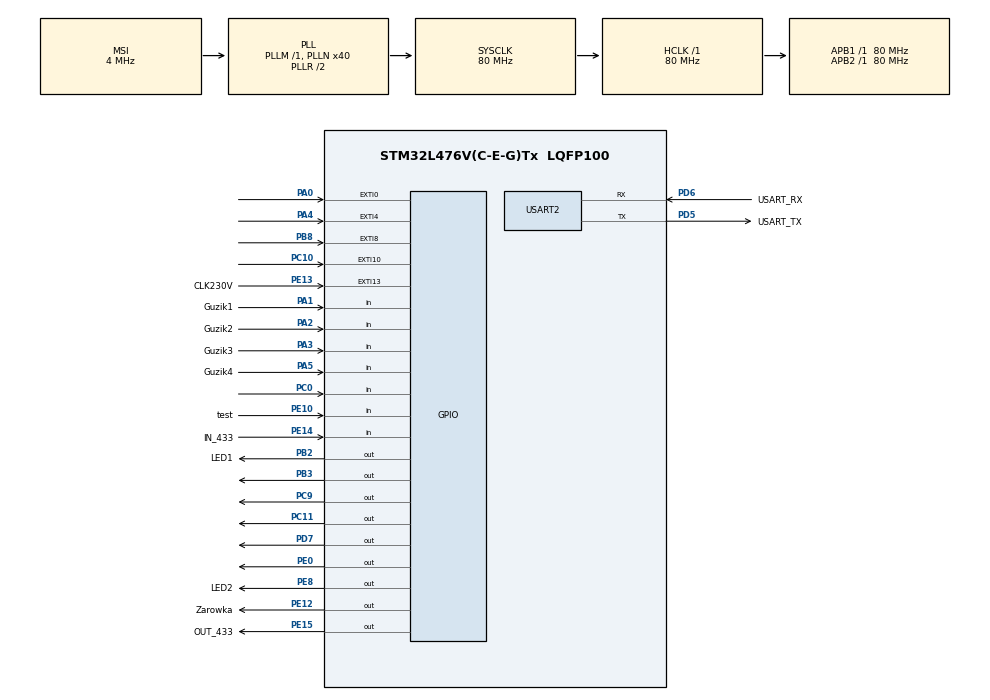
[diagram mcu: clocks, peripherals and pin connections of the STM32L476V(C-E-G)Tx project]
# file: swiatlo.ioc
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Dma.Request0=USART2_RX
Dma.Request1=USART2_TX
Dma.USART2_RX.0.Direction=DMA_PERIPH_TO_MEMORY
Dma.USART2_RX.0.Instance=DMA1_Channel6
Dma.USART2_RX.0.MemDataAlignment=DMA_MDATAALIGN_BYTE
Dma.USART2_RX.0.MemInc=DMA_MINC_ENABLE
Dma.USART2_RX.0.Mode=DMA_CIRCULAR
Dma.USART2_RX.0.PeriphDataAlignment=DMA_PDATAALIGN_BYTE
Dma.USART2_RX.0.PeriphInc=DMA_PINC_DISABLE
Dma.USART2_RX.0.Priority=DMA_PRIORITY_LOW
Dma.USART2_TX.1.Direction=DMA_MEMORY_TO_PERIPH
Dma.USART2_TX.1.Instance=DMA1_Channel7
Dma.USART2_TX.1.MemDataAlignment=DMA_MDATAALIGN_BYTE
Dma.USART2_TX.1.MemInc=DMA_MINC_ENABLE
Dma.USART2_TX.1.Mode=DMA_CIRCULAR
Dma.USART2_TX.1.PeriphDataAlignment=DMA_PDATAALIGN_BYTE
Dma.USART2_TX.1.PeriphInc=DMA_PINC_DISABLE
Dma.USART2_TX.1.Priority=DMA_PRIORITY_LOW
Mcu.Family=STM32L4
Mcu.Name=STM32L476V(C-E-G)Tx
Mcu.Package=LQFP100
NVIC.DMA1_Channel6_IRQn=true\:0\:0\:false\:false\:true\:false
NVIC.DMA1_Channel7_IRQn=true\:0\:0\:false\:false\:true\:false
NVIC.EXTI0_IRQn=true\:0\:0\:false\:false\:true\:true
NVIC.EXTI15_10_IRQn=true\:0\:0\:false\:false\:true\:true
NVIC.EXTI4_IRQn=true\:0\:0\:false\:false\:true\:true
NVIC.EXTI9_5_IRQn=true\:0\:0\:false\:false\:true\:true
NVIC.PVD_PVM_IRQn=true\:0\:0\:false\:false\:true\:true
NVIC.PriorityGroup=NVIC_PRIORITYGROUP_4
NVIC.TIM6_DAC_IRQn=true\:0\:0\:false\:false\:true\:true
NVIC.TIM7_IRQn=true\:0\:0\:false\:false\:true\:true
NVIC.USART2_IRQn=true\:0\:0\:false\:false\:true\:true
PA0.Signal=GPXTI0
PA1.GPIO_Label=Guzik1
PA1.GPIO_PuPd=GPIO_PULLDOWN
PA1.Signal=GPIO_Input
PA10.GPIO_Mode=GPIO_MODE_AF_PP
PA10.GPIO_PuPd=GPIO_NOPULL
PA10.GPIO_Speed=GPIO_SPEED_FREQ_LOW
PA10.Signal=LCD_COM2
PA11.GPIO_Mode=GPIO_MODE_AF_PP
PA11.GPIO_PuPd=GPIO_NOPULL
PA11.GPIO_Speed=GPIO_SPEED_FREQ_VERY_HIGH
PA11.Signal=USB_OTG_FS_DM
PA12.GPIO_Mode=GPIO_MODE_AF_PP
PA12.GPIO_PuPd=GPIO_NOPULL
PA12.GPIO_Speed=GPIO_SPEED_FREQ_VERY_HIGH
PA12.Signal=USB_OTG_FS_DP
PA13\ (JTMS-SWDIO).Mode=Serial_Wire
PA13\ (JTMS-SWDIO).Signal=SYS_JTMS-SWDIO
PA14\ (JTCK-SWCLK).Mode=Serial_Wire
PA14\ (JTCK-SWCLK).Signal=SYS_JTCK-SWCLK
PA15\ (JTDI).GPIO_Mode=GPIO_MODE_AF_PP
PA15\ (JTDI).GPIO_PuPd=GPIO_NOPULL
PA15\ (JTDI).GPIO_Speed=GPIO_SPEED_FREQ_LOW
PA15\ (JTDI).Signal=LCD_SEG17
PA2.GPIO_Label=Guzik2
PA2.GPIO_PuPd=GPIO_PULLDOWN
PA2.Signal=GPIO_Input
PA3.GPIO_Label=Guzik3
PA3.GPIO_PuPd=GPIO_PULLDOWN
PA3.Signal=GPIO_Input
PA4.GPIO_ModeDefaultEXTI=GPIO_MODE_IT_RISING
PA4.GPIO_PuPd=GPIO_NOPULL
PA4.Signal=GPXTI4
PA5.GPIO_Label=Guzik4
PA5.GPIO_PuPd=GPIO_PULLDOWN
PA5.Signal=GPIO_Input
PA6.GPIO_Mode=GPIO_MODE_AF_PP
PA6.GPIO_PuPd=GPIO_NOPULL
PA6.GPIO_Speed=GPIO_SPEED_FREQ_LOW
PA6.Signal=LCD_SEG3
PA7.GPIO_Mode=GPIO_MODE_AF_PP
PA7.GPIO_PuPd=GPIO_NOPULL
PA7.GPIO_Speed=GPIO_SPEED_FREQ_LOW
PA7.Signal=LCD_SEG4
PA8.GPIO_Mode=GPIO_MODE_AF_PP
PA8.GPIO_PuPd=GPIO_NOPULL
PA8.GPIO_Speed=GPIO_SPEED_FREQ_LOW
PA8.Signal=LCD_COM0
PA9.GPIO_Mode=GPIO_MODE_AF_PP
PA9.GPIO_PuPd=GPIO_NOPULL
PA9.GPIO_Speed=GPIO_SPEED_FREQ_LOW
PA9.Signal=LCD_COM1
PB0.GPIO_Mode=GPIO_MODE_AF_PP
PB0.GPIO_PuPd=GPIO_NOPULL
PB0.GPIO_Speed=GPIO_SPEED_FREQ_LOW
PB0.Signal=LCD_SEG5
PB1.GPIO_Mode=GPIO_MODE_AF_PP
PB1.GPIO_PuPd=GPIO_NOPULL
PB1.GPIO_Speed=GPIO_SPEED_FREQ_LOW
PB1.Signal=LCD_SEG6
PB10.GPIO_Mode=GPIO_MODE_AF_OD
PB10.GPIO_PuPdOD=GPIO_PULLUP
PB10.GPIO_Speed=GPIO_SPEED_FREQ_VERY_HIGH
PB10.Signal=I2C2_SCL
PB11.GPIO_Mode=GPIO_MODE_AF_OD
PB11.GPIO_PuPdOD=GPIO_PULLUP
PB11.GPIO_Speed=GPIO_SPEED_FREQ_VERY_HIGH
PB11.Signal=I2C2_SDA
PB12.GPIO_Mode=GPIO_MODE_AF_PP
PB12.GPIO_PuPd=GPIO_NOPULL
PB12.GPIO_Speed=GPIO_SPEED_FREQ_LOW
PB12.Signal=LCD_SEG12
PB13.GPIO_Mode=GPIO_MODE_AF_PP
PB13.GPIO_PuPd=GPIO_NOPULL
PB13.GPIO_Speed=GPIO_SPEED_FREQ_LOW
PB13.Signal=LCD_SEG13
PB14.GPIO_Mode=GPIO_MODE_AF_PP
PB14.GPIO_PuPd=GPIO_NOPULL
PB14.GPIO_Speed=GPIO_SPEED_FREQ_LOW
PB14.Signal=LCD_SEG14
PB15.GPIO_Mode=GPIO_MODE_AF_PP
PB15.GPIO_PuPd=GPIO_NOPULL
PB15.GPIO_Speed=GPIO_SPEED_FREQ_LOW
PB15.Signal=LCD_SEG15
PB2.GPIO_Label=LED1
PB2.GPIO_ModeDefaultOutputPP=GPIO_MODE_OUTPUT_PP
PB2.GPIO_PuPd=GPIO_NOPULL
PB2.GPIO_Speed=GPIO_SPEED_FREQ_LOW
PB2.PinState=GPIO_PIN_RESET
PB2.Signal=GPIO_Output
PB3\ (JTDO-TRACESWO).GPIO_ModeDefaultOutputPP=GPIO_MODE_OUTPUT_PP
PB3\ (JTDO-TRACESWO).GPIO_PuPd=GPIO_NOPULL
PB3\ (JTDO-TRACESWO).GPIO_Speed=GPIO_SPEED_FREQ_LOW
PB3\ (JTDO-TRACESWO).PinState=GPIO_PIN_RESET
PB3\ (JTDO-TRACESWO).Signal=GPIO_Output
PB4\ (NJTRST).GPIO_Mode=GPIO_MODE_AF_PP
PB4\ (NJTRST).GPIO_PuPd=GPIO_NOPULL
PB4\ (NJTRST).GPIO_Speed=GPIO_SPEED_FREQ_LOW
PB4\ (NJTRST).Signal=LCD_SEG8
PB5.GPIO_Mode=GPIO_MODE_AF_PP
PB5.GPIO_PuPd=GPIO_NOPULL
PB5.GPIO_Speed=GPIO_SPEED_FREQ_LOW
PB5.Signal=LCD_SEG9
PB6.GPIO_FM6=__NULL
PB6.GPIO_Mode=GPIO_MODE_AF_OD
PB6.GPIO_PuPdOD=GPIO_PULLUP
PB6.GPIO_Speed=GPIO_SPEED_FREQ_VERY_HIGH
PB6.Signal=I2C1_SCL
PB7.GPIO_FM7=__NULL
PB7.GPIO_Mode=GPIO_MODE_AF_OD
PB7.GPIO_PuPdOD=GPIO_PULLUP
PB7.GPIO_Speed=GPIO_SPEED_FREQ_VERY_HIGH
PB7.Signal=I2C1_SDA
PB8.GPIO_ModeDefaultEXTI=GPIO_MODE_IT_RISING
PB8.GPIO_PuPd=GPIO_NOPULL
PB8.Signal=GPXTI8
PB9.GPIO_FM9=__NULL
PB9.GPIO_Mode=GPIO_MODE_AF_PP
PB9.GPIO_PuPd=GPIO_NOPULL
PB9.GPIO_Speed=GPIO_SPEED_FREQ_LOW
PB9.Signal=LCD_COM3
PC0.Signal=GPIO_Input
PC10.GPIO_ModeDefaultEXTI=GPIO_MODE_IT_RISING
PC10.GPIO_PuPd=GPIO_NOPULL
PC10.Signal=GPXTI10
PC11.GPIO_ModeDefaultOutputPP=GPIO_MODE_OUTPUT_PP
PC11.GPIO_PuPd=GPIO_NOPULL
PC11.GPIO_Speed=GPIO_SPEED_FREQ_LOW
PC11.PinState=GPIO_PIN_RESET
PC11.Signal=GPIO_Output
PC3.GPIO_Mode=GPIO_MODE_AF_PP
PC3.GPIO_PuPd=GPIO_NOPULL
PC3.GPIO_Speed=GPIO_SPEED_FREQ_LOW
PC3.Signal=LCD_VLCD
PC4.GPIO_Mode=GPIO_MODE_AF_PP
PC4.GPIO_PuPd=GPIO_NOPULL
PC4.GPIO_Speed=GPIO_SPEED_FREQ_LOW
PC4.Signal=LCD_SEG22
PC5.GPIO_Mode=GPIO_MODE_AF_PP
PC5.GPIO_PuPd=GPIO_NOPULL
PC5.GPIO_Speed=GPIO_SPEED_FREQ_LOW
PC5.Signal=LCD_SEG23
PC6.GPIO_Mode=GPIO_MODE_AF_PP
PC6.GPIO_PuPd=GPIO_NOPULL
PC6.GPIO_Speed=GPIO_SPEED_FREQ_LOW
PC6.Signal=LCD_SEG24
PC7.GPIO_Mode=GPIO_MODE_AF_PP
PC7.GPIO_PuPd=GPIO_NOPULL
PC7.GPIO_Speed=GPIO_SPEED_FREQ_LOW
PC7.Signal=LCD_SEG25
PC8.GPIO_Mode=GPIO_MODE_AF_PP
PC8.GPIO_PuPd=GPIO_NOPULL
PC8.GPIO_Speed=GPIO_SPEED_FREQ_LOW
PC8.Signal=LCD_SEG26
PC9.GPIO_ModeDefaultOutputPP=GPIO_MODE_OUTPUT_PP
PC9.GPIO_PuPd=GPIO_NOPULL
PC9.GPIO_Speed=GPIO_SPEED_FREQ_LOW
PC9.PinState=GPIO_PIN_RESET
PC9.Signal=GPIO_Output
PD1.GPIO_Mode=GPIO_MODE_AF_PP
PD1.GPIO_PuPd=GPIO_NOPULL
PD1.GPIO_Speed=GPIO_SPEED_FREQ_VERY_HIGH
PD1.Signal=SPI2_SCK
PD10.GPIO_Mode=GPIO_MODE_AF_PP
PD10.GPIO_PuPd=GPIO_NOPULL
PD10.GPIO_Speed=GPIO_SPEED_FREQ_LOW
PD10.Signal=LCD_SEG30
PD11.GPIO_Mode=GPIO_MODE_AF_PP
PD11.GPIO_PuPd=GPIO_NOPULL
PD11.GPIO_Speed=GPIO_SPEED_FREQ_LOW
PD11.Signal=LCD_SEG31
PD12.GPIO_Mode=GPIO_MODE_AF_PP
PD12.GPIO_PuPd=GPIO_NOPULL
PD12.GPIO_Speed=GPIO_SPEED_FREQ_LOW
PD12.Signal=LCD_SEG32
PD13.GPIO_Mode=GPIO_MODE_AF_PP
PD13.GPIO_PuPd=GPIO_NOPULL
PD13.GPIO_Speed=GPIO_SPEED_FREQ_LOW
PD13.Signal=LCD_SEG33
PD14.GPIO_Mode=GPIO_MODE_AF_PP
PD14.GPIO_PuPd=GPIO_NOPULL
PD14.GPIO_Speed=GPIO_SPEED_FREQ_LOW
PD14.Signal=LCD_SEG34
PD15.GPIO_Mode=GPIO_MODE_AF_PP
PD15.GPIO_PuPd=GPIO_NOPULL
PD15.GPIO_Speed=GPIO_SPEED_FREQ_LOW
PD15.Signal=LCD_SEG35
PD3.GPIO_Mode=GPIO_MODE_AF_PP
PD3.GPIO_PuPd=GPIO_NOPULL
PD3.GPIO_Speed=GPIO_SPEED_FREQ_VERY_HIGH
PD3.Signal=SPI2_MISO
PD4.GPIO_Mode=GPIO_MODE_AF_PP
PD4.GPIO_PuPd=GPIO_NOPULL
PD4.GPIO_Speed=GPIO_SPEED_FREQ_VERY_HIGH
PD4.Signal=SPI2_MOSI
PD5.GPIO_Label=USART_TX
PD5.GPIO_Mode=GPIO_MODE_AF_PP
PD5.GPIO_ModeDefaultPP=GPIO_MODE_AF_PP
PD5.GPIO_PuPd=GPIO_NOPULL
PD5.GPIO_Speed=GPIO_SPEED_FREQ_VERY_HIGH
PD5.Mode=Asynchronous
PD5.Signal=USART2_TX
PD6.GPIO_Label=USART_RX
PD6.GPIO_Mode=GPIO_MODE_AF_PP
PD6.GPIO_ModeDefaultPP=GPIO_MODE_AF_PP
PD6.GPIO_PuPd=GPIO_NOPULL
PD6.GPIO_Speed=GPIO_SPEED_FREQ_VERY_HIGH
PD6.Mode=Asynchronous
PD6.Signal=USART2_RX
PD7.GPIO_ModeDefaultOutputPP=GPIO_MODE_OUTPUT_PP
PD7.GPIO_PuPd=GPIO_NOPULL
PD7.GPIO_Speed=GPIO_SPEED_FREQ_LOW
PD7.PinState=GPIO_PIN_RESET
PD7.Signal=GPIO_Output
PD8.GPIO_Mode=GPIO_MODE_AF_PP
PD8.GPIO_PuPd=GPIO_NOPULL
PD8.GPIO_Speed=GPIO_SPEED_FREQ_LOW
PD8.Signal=LCD_SEG28
PD9.GPIO_Mode=GPIO_MODE_AF_PP
PD9.GPIO_PuPd=GPIO_NOPULL
PD9.GPIO_Speed=GPIO_SPEED_FREQ_LOW
PD9.Signal=LCD_SEG29
PE0.GPIO_ModeDefaultOutputPP=GPIO_MODE_OUTPUT_PP
PE0.GPIO_PuPd=GPIO_NOPULL
PE0.GPIO_Speed=GPIO_SPEED_FREQ_LOW
PE0.PinState=GPIO_PIN_RESET
PE0.Signal=GPIO_Output
PE10.GPIO_Label=test
PE10.GPIO_PuPd=GPIO_PULLDOWN
PE10.Signal=GPIO_Input
PE12.GPIO_Label=Zarowka
PE12.Signal=GPIO_Output
PE13.GPIO_Label=CLK230V
PE13.GPIO_ModeDefaultEXTI=GPIO_MODE_IT_FALLING
PE13.GPIO_PuPd=GPIO_NOPULL
PE13.Signal=GPXTI13
PE14.GPIO_Label=IN_433
PE14.GPIO_PuPd=GPIO_PULLUP
PE14.Signal=GPIO_Input
PE15.GPIO_Label=OUT_433
PE15.Signal=GPIO_Output
PE7.GPIO_Mode=GPIO_MODE_AF_PP
PE7.GPIO_PuPd=GPIO_NOPULL
PE7.GPIO_Speed=GPIO_SPEED_FREQ_LOW
PE7.Signal=SAI1_SD_B
PE8.GPIO_Label=LED2
PE8.GPIO_ModeDefaultOutputPP=GPIO_MODE_OUTPUT_PP
PE8.GPIO_PuPd=GPIO_NOPULL
PE8.GPIO_Speed=GPIO_SPEED_FREQ_LOW
PE8.PinState=GPIO_PIN_RESET
PE8.Signal=GPIO_Output
PE9.GPIO_Mode=GPIO_MODE_AF_PP
PE9.GPIO_PuPd=GPIO_NOPULL
PE9.GPIO_Speed=GPIO_SPEED_FREQ_LOW
PE9.Signal=SAI1_FS_B
ProjectManager.HeapSize=0x200
ProjectManager.StackSize=0x400
ProjectManager.TargetToolchain=TrueSTUDIO
RCC.ADCFreq_Value=48000000
RCC.AHBFreq_Value=80000000
RCC.APB1Freq_Value=80000000
RCC.APB1TimFreq_Value=80000000
RCC.APB2Freq_Value=80000000
RCC.APB2TimFreq_Value=80000000
RCC.CortexFreq_Value=80000000
RCC.HCLKFreq_Value=80000000
RCC.HSE_VALUE=8000000
RCC.HSI_VALUE=16000000
RCC.LSE_VALUE=32768
RCC.MSI_VALUE=4000000
RCC.PLLN=40
RCC.PLLSAI1N=24
RCC.PREFETCH_ENABLE=1
RCC.SYSCLKFreq_VALUE=80000000
RCC.SYSCLKSource=RCC_SYSCLKSOURCE_PLLCLK
RCC.USBFreq_Value=48000000
RCC.VCOOutputFreq_Value=160000000
TIM6.Period=100
TIM6.Prescaler=80
TIM7.Period=10
TIM7.Prescaler=250
USART2.VirtualMode-Asynchronous=VM_ASYNC
USART2.WordLength=WORDLENGTH_8B
VP_TIM6_VS_ClockSourceINT.Mode=Enable_Timer
VP_TIM7_VS_ClockSourceINT.Mode=Enable_Timer
board=32L476GDISCOVERY

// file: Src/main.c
/**
 ******************************************************************************
 * @file           : main.c
 * @brief          : Main program body
 ******************************************************************************
 ** This notice applies to any and all portions of this file
 * that are not between comment pairs USER CODE BEGIN and
 * USER CODE END. Other portions of this file, whether
 * inserted by the user or by software development tools
 * are owned by their respective copyright owners.
 *
 * COPYRIGHT(c) 2018 STMicroelectronics
 *
 * Redistribution and use in source and binary forms, with or without modification,
 * are permitted provided that the following conditions are met:
 *   1. Redistributions of source code must retain the above copyright notice,
 *      this list of conditions and the following disclaimer.
 *   2. Redistributions in binary form must reproduce the above copyright notice,
 *      this list of conditions and the following disclaimer in the documentation
 *      and/or other materials provided with the distribution.
 *   3. Neither the name of STMicroelectronics nor the names of its contributors
 *      may be used to endorse or promote products derived from this software
 *      without specific prior written permission.
 *
 * THIS SOFTWARE IS PROVIDED BY THE COPYRIGHT HOLDERS AND CONTRIBUTORS "AS IS"
 * AND ANY EXPRESS OR IMPLIED WARRANTIES, INCLUDING, BUT NOT LIMITED TO, THE
 * IMPLIED WARRANTIES OF MERCHANTABILITY AND FITNESS FOR A PARTICULAR PURPOSE ARE
 * DISCLAIMED. IN NO EVENT SHALL THE COPYRIGHT HOLDER OR CONTRIBUTORS BE LIABLE
 * FOR ANY DIRECT, INDIRECT, INCIDENTAL, SPECIAL, EXEMPLARY, OR CONSEQUENTIAL
 * DAMAGES (INCLUDING, BUT NOT LIMITED TO, PROCUREMENT OF SUBSTITUTE GOODS OR
 * SERVICES; LOSS OF USE, DATA, OR PROFITS; OR BUSINESS INTERRUPTION) HOWEVER
 * CAUSED AND ON ANY THEORY OF LIABILITY, WHETHER IN CONTRACT, STRICT LIABILITY,
 * OR TORT (INCLUDING NEGLIGENCE OR OTHERWISE) ARISING IN ANY WAY OUT OF THE USE
 * OF THIS SOFTWARE, EVEN IF ADVISED OF THE POSSIBILITY OF SUCH DAMAGE.
 *
 ******************************************************************************
 */
#include "main.h"
#include "stm32l4xx_hal.h"
#include "dma.h"
#include "tim.h"
#include "usart.h"
#include "gpio.h"

/* USER CODE BEGIN Includes */
#include "Radio_433.h"

#define ADRES_GNIAZDKO 48
#define Adres_GNIAZDKO_OBIERANIE 49
#define ADRES_ROLETA 68
#define ADRES_ROLETA_ODBIERANIE 69
#define ADRES_ZAROWKA 58
#define ADRES_ZAROWKA_ODBIERANIE 59

#define ADRES_EKSPANDER_GNIAZDO 60
#define ADRES_EKSPANDER_GNIAZDO_ODBIERANIE 160

#define ADRES_EKSPANDER_ROLETA 70

/* USER CODE END Includes */

/* USER CODE BEGIN PV */
/* Private variables ---------------------------------------------------------*/

// BAZA USTAWIEN
volatile int zarowka = 100; //100 wylacz, 101 wlacz, x>102 --> ster jasnoscia
volatile int gniazdo = 100; //100 wylacz, 101 wlacz
volatile int roleta = 100;  //100 zamknij, 101 otwoz, x>102 --> ster wysokoscia

volatile int ekspander_gniazdko = 2;
volatile int ekspander_roleta = 0;

volatile int Adres_do_wyslania = 0;
volatile int Dana_do_wyslania = 0;
int tmp = 1;
int numer = 0;

/* USER CODE END PV */

void SystemClock_Config(void);

/* USER CODE BEGIN PFP */
/* Private function prototypes -----------------------------------------------*/

/* USER CODE END PFP */

/* USER CODE BEGIN 0 */

int _write(int file, char*ptr, int len) {
	HAL_UART_Transmit(&huart2, ptr, len, 50);
	return len;
}

void HAL_GPIO_EXTI_Callback(uint16_t GPIO_Pin) {

	if (GPIO_Pin == 1) {
		if (ekspander_gniazdko == 1) {
			ekspander_gniazdko = 2;
		} else if (ekspander_gniazdko == 2) {
			ekspander_gniazdko = 1;
		}
	}
	printf("Dioda ekspander gniazdko %d\r\n", ekspander_gniazdko);

}

void HAL_TIM_PeriodElapsedCallback(TIM_HandleTypeDef *htim) {
	if (htim == &htim7) {

	}
	if (htim == &htim6) {
		podstawa_czasowa_kominikacji();
		//obsluga_nadawania();
	}
	//if (htim == &htim17) {
	//}
}
void HAL_SYSTICK_Callback(void) {
	if (HAL_GPIO_ReadPin(Guzik1_GPIO_Port, Guzik1_Pin) == GPIO_PIN_SET) {
		if (zarowka != 0) {
			zarowka = 0;
			printf("Moc zarowki:%d\r\n", zarowka);
		}
	}
	if (HAL_GPIO_ReadPin(Guzik2_GPIO_Port, Guzik2_Pin) == GPIO_PIN_SET) {
		if (zarowka != 200) {
			zarowka = 200;
			printf("Moc zarowki:%d\r\n", zarowka);
		}
	}
	if (HAL_GPIO_ReadPin(Guzik3_GPIO_Port, Guzik3_Pin) == GPIO_PIN_SET) {
		if (gniazdo != 100) {
			gniazdo = 100;
			printf("Gniazdo wylaczone\r\n");
		}
	}
	if (HAL_GPIO_ReadPin(Guzik4_GPIO_Port, Guzik4_Pin) == GPIO_PIN_SET) {
		if (gniazdo != 101) {
			gniazdo = 101;
			printf("Gniazdo wlaczone\r\n");
		}
	}
}
/* USER CODE END 0 */

int main(void) {

	/* MCU Configuration----------------------------------------------------------*/

	/* Reset of all peripherals, Initializes the Flash interface and the Systick. */
	HAL_Init();

	/* Configure the system clock */
	SystemClock_Config();

	/* Initialize all configured peripherals */
	MX_GPIO_Init();
	MX_DMA_Init();
	MX_USART2_UART_Init();
	MX_TIM7_Init();
	MX_TIM6_Init();
	/* USER CODE BEGIN 2 */
	HAL_TIM_Base_Start_IT(&htim7);
	HAL_TIM_Base_Start_IT(&htim6);
	//HAL_TIM_Base_Start_IT(&htim17);

	/* USER CODE END 2 */

	/* Infinite loop */
	/* USER CODE BEGIN WHILE */
	int dana = 0;
	while (1) {
		tmp++;
		if (tmp == 4000) {
			tmp = 0;
			numer++;
		}
		if (numer >= 1800 && flaga_nadawania == 0 && tlo_nadawania == 3) {// tlo_nadawania==3
			numer = 0;
			if (dana == 5) {
				nadaj_433(ADRES_ROLETA, roleta);
				dana = 0;
			} else if (dana == 4) {
				nadaj_433(ADRES_GNIAZDKO, gniazdo);
			} else if (dana == 3) {
				nadaj_433(ADRES_ZAROWKA, zarowka);
			} else if (dana == 2) {
				nadaj_433(ADRES_EKSPANDER_ROLETA, ekspander_roleta);
			} else if (dana == 1) {
				nadaj_433(ADRES_EKSPANDER_GNIAZDO, ekspander_gniazdko);
				zarowka = zarowka + 10;

			}
			dana++;
		}
		if (flaga_odbierania == 2) {
			printf("odebrano: %d, %d \r\n", odebrano[0], odebrano[1]);
			if (odebrano[0] == ADRES_ZAROWKA_ODBIERANIE) {
				if (odebrano[1] != zarowka) {
					zarowka = odebrano[1];
				}
			}
			if (odebrano[0] == ADRES_ROLETA_ODBIERANIE) {
				if (odebrano[1] != roleta) {
					roleta = odebrano[1];
				}
			}
			if (odebrano[0] == Adres_GNIAZDKO_OBIERANIE) {
				if (odebrano[1] != gniazdo) {
					gniazdo = odebrano[1];
				}
			}
			if (odebrano[0] == ADRES_EKSPANDER_GNIAZDO_ODBIERANIE) {
				if (odebrano[1] != ekspander_gniazdko) {
					ekspander_gniazdko = odebrano[1];
				}
			}

			if (zarowka == 250) {
				zarowka = 100;
			}
			if (zarowka < 100) {
				zarowka = 100;
			}

			odebrano[0] = 0;
			odebrano[1] = 0;
			flaga_odbierania = 1;
		}

		/* USER CODE END WHILE */

	}

}

void SystemClock_Config(void) {

	RCC_OscInitTypeDef RCC_OscInitStruct;
	RCC_ClkInitTypeDef RCC_ClkInitStruct;
	RCC_PeriphCLKInitTypeDef PeriphClkInit;

	/**Initializes the CPU, AHB and APB busses clocks
	 */
	RCC_OscInitStruct.OscillatorType = RCC_OSCILLATORTYPE_MSI;
	RCC_OscInitStruct.MSIState = RCC_MSI_ON;
	RCC_OscInitStruct.MSICalibrationValue = 0;
	RCC_OscInitStruct.MSIClockRange = RCC_MSIRANGE_6;
	RCC_OscInitStruct.PLL.PLLState = RCC_PLL_ON;
	RCC_OscInitStruct.PLL.PLLSource = RCC_PLLSOURCE_MSI;
	RCC_OscInitStruct.PLL.PLLM = 1;
	RCC_OscInitStruct.PLL.PLLN = 40;
	RCC_OscInitStruct.PLL.PLLP = RCC_PLLP_DIV7;
	RCC_OscInitStruct.PLL.PLLQ = RCC_PLLQ_DIV2;
	RCC_OscInitStruct.PLL.PLLR = RCC_PLLR_DIV2;
	if (HAL_RCC_OscConfig(&RCC_OscInitStruct) != HAL_OK) {
		_Error_Handler(__FILE__, __LINE__);
	}

	/**Initializes the CPU, AHB and APB busses clocks
	 */
	RCC_ClkInitStruct.ClockType = RCC_CLOCKTYPE_HCLK | RCC_CLOCKTYPE_SYSCLK
			| RCC_CLOCKTYPE_PCLK1 | RCC_CLOCKTYPE_PCLK2;
	RCC_ClkInitStruct.SYSCLKSource = RCC_SYSCLKSOURCE_PLLCLK;
	RCC_ClkInitStruct.AHBCLKDivider = RCC_SYSCLK_DIV1;
	RCC_ClkInitStruct.APB1CLKDivider = RCC_HCLK_DIV1;
	RCC_ClkInitStruct.APB2CLKDivider = RCC_HCLK_DIV1;

	if (HAL_RCC_ClockConfig(&RCC_ClkInitStruct, FLASH_LATENCY_4) != HAL_OK) {
		_Error_Handler(__FILE__, __LINE__);
	}

	PeriphClkInit.PeriphClockSelection = RCC_PERIPHCLK_USART2;
	PeriphClkInit.Usart2ClockSelection = RCC_USART2CLKSOURCE_PCLK1;
	if (HAL_RCCEx_PeriphCLKConfig(&PeriphClkInit) != HAL_OK) {
		_Error_Handler(__FILE__, __LINE__);
	}

	/**Configure the main internal regulator output voltage
	 */
	if (HAL_PWREx_ControlVoltageScaling(PWR_REGULATOR_VOLTAGE_SCALE1)
			!= HAL_OK) {
		_Error_Handler(__FILE__, __LINE__);
	}

	/**Configure the Systick interrupt time
	 */
	HAL_SYSTICK_Config(HAL_RCC_GetHCLKFreq() / 1000);

	/**Configure the Systick
	 */
	HAL_SYSTICK_CLKSourceConfig(SYSTICK_CLKSOURCE_HCLK);

	/* SysTick_IRQn interrupt configuration */
	HAL_NVIC_SetPriority(SysTick_IRQn, 0, 0);
}

void _Error_Handler(char *file, int line) {
	while (1) {
	}
}

/************************ (C) COPYRIGHT STMicroelectronics *****END OF FILE****/
